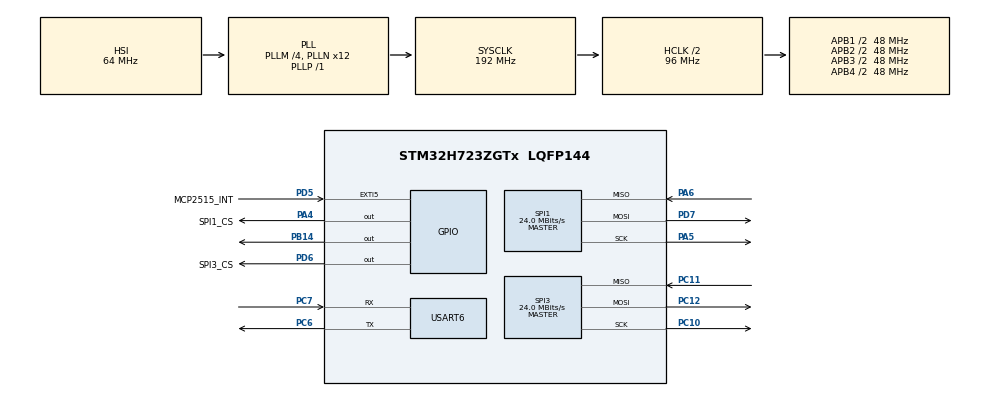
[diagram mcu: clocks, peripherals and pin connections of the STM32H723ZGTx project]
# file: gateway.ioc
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CORTEX_M7.default_mode_Activation=1
FREERTOS.Events01=myEvent01,Dynamic,NULL
FREERTOS.Mutexes01=myMutex01,Dynamic,NULL,Available
FREERTOS.Queues01=myQueue01,32,uint32_t,0,Dynamic,NULL,NULL
FREERTOS.Tasks01=defaultTask,24,128,StartDefaultTask,Default,NULL,Dynamic,NULL,NULL;myTask02,8,128,StartTask02,Default,NULL,Dynamic,NULL,NULL;myTask03,8,128,StartTask03,Default,NULL,Dynamic,NULL,NULL
FREERTOS.configUSE_NEWLIB_REENTRANT=1
Mcu.Family=STM32H7
Mcu.Name=STM32H723ZGTx
Mcu.Package=LQFP144
NUCLEO-H723ZG.BUTTON=1
NUCLEO-H723ZG.LD1=true
NUCLEO-H723ZG.LD2=true
NUCLEO-H723ZG.LD3=true
NUCLEO-H723ZG.VCP=true
NVIC.EXTI15_10_IRQn=true\:5\:0\:false\:false\:true\:true\:false\:true\:true
NVIC.EXTI9_5_IRQn=true\:5\:0\:false\:false\:true\:false\:true\:true\:true
NVIC.PriorityGroup=NVIC_PRIORITYGROUP_4
NVIC.TIM6_DAC_IRQn=true\:15\:0\:false\:false\:true\:false\:false\:true\:true
NVIC.TimeBase=TIM6_DAC_IRQn
NVIC.TimeBaseIP=TIM6
NVIC.USART6_IRQn=true\:5\:0\:false\:false\:true\:true\:true\:true\:true
PA13(JTMS/SWDIO).GPIO_Label=SWDIO
PA13(JTMS/SWDIO).Signal=DEBUG_JTMS-SWDIO
PA14(JTCK/SWCLK).GPIO_Label=SWCLK
PA14(JTCK/SWCLK).Signal=DEBUG_JTCK-SWCLK
PA4.GPIO_Label=SPI1_CS
PA4.Signal=GPIO_Output
PA5.Mode=Full_Duplex_Master
PA5.Signal=SPI1_SCK
PA6.Mode=Full_Duplex_Master
PA6.Signal=SPI1_MISO
PB14.Signal=GPIO_Output
PC10.Mode=Full_Duplex_Master
PC10.Signal=SPI3_SCK
PC11.Mode=Full_Duplex_Master
PC11.Signal=SPI3_MISO
PC12.Mode=Full_Duplex_Master
PC12.Signal=SPI3_MOSI
PC14-OSC32_IN.Signal=RCC_OSC32_IN
PC15-OSC32_OUT.Signal=RCC_OSC32_OUT
PC6.Mode=Asynchronous
PC6.Signal=USART6_TX
PC7.Mode=Asynchronous
PC7.Signal=USART6_RX
PD5.GPIO_Label=MCP2515_INT
PD5.GPIO_ModeDefaultEXTI=GPIO_MODE_IT_FALLING
PD5.GPIO_PuPd=GPIO_PULLUP
PD5.Signal=GPXTI5
PD6.GPIO_Label=SPI3_CS
PD6.Signal=GPIO_Output
PD7.Mode=Full_Duplex_Master
PD7.Signal=SPI1_MOSI
PD8.Signal=USART3_TX
PD9.Signal=USART3_RX
PH0-OSC_IN.Mode=HSE-External-Oscillator
PH0-OSC_IN.Signal=RCC_OSC_IN
PH1-OSC_OUT.Mode=HSE-External-Oscillator
PH1-OSC_OUT.Signal=RCC_OSC_OUT
ProjectManager.HeapSize=0x200
ProjectManager.StackSize=0x400
ProjectManager.TargetToolchain=STM32CubeIDE
RCC.ADCFreq_Value=608000000
RCC.APB1Freq_Value=48000000
RCC.APB2Freq_Value=48000000
RCC.APB3Freq_Value=48000000
RCC.APB4Freq_Value=48000000
RCC.CortexFreq_Value=192000000
RCC.D1PPRE=RCC_APB3_DIV2
RCC.D2PPRE1=RCC_APB1_DIV2
RCC.D2PPRE2=RCC_APB2_DIV2
RCC.D3PPRE=RCC_APB4_DIV2
RCC.DIVM1=4
RCC.DIVM2=1
RCC.DIVN1=12
RCC.DIVN2=19
RCC.DIVP1=1
RCC.DIVQ1=4
RCC.HCLKFreq_Value=96000000
RCC.HPRE=RCC_HCLK_DIV2
RCC.HSE_VALUE=8000000
RCC.PLLFRACN=0
RCC.SYSCLKFreq_VALUE=192000000
RCC.SYSCLKSource=RCC_SYSCLKSOURCE_PLLCLK
RCC.USBCLockSelection=RCC_USBCLKSOURCE_HSI48
RCC.USBFreq_Value=48000000
SPI1.CalculateBaudRate=24.0 MBits/s
SPI1.Direction=SPI_DIRECTION_2LINES
SPI1.Mode=SPI_MODE_MASTER
SPI1.VirtualType=VM_MASTER
SPI3.CalculateBaudRate=24.0 MBits/s
SPI3.Direction=SPI_DIRECTION_2LINES
SPI3.Mode=SPI_MODE_MASTER
SPI3.VirtualType=VM_MASTER
USART6.VirtualMode-Asynchronous=VM_ASYNC
VP_FREERTOS_VS_CMSIS_V2.Mode=CMSIS_V2
VP_MEMORYMAP_VS_MEMORYMAP.Mode=CurAppReg
VP_NUCLEO-H723ZG_VS_BSP_COMMON.Mode=COMMON
VP_SYS_VS_tim6.Mode=TIM6
board=NUCLEO-H723ZG

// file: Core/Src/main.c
/* USER CODE BEGIN Header */
///**
//  ******************************************************************************
//  * @file           : main.c
//  * @brief          : Main program body
//  ******************************************************************************
//  * @attention
//  *
//  * Copyright (c) 2026 STMicroelectronics.
//  * All rights reserved.
//  *
//  * This software is licensed under terms that can be found in the LICENSE file
//  * in the root directory of this software component.
//  * If no LICENSE file comes with this software, it is provided AS-IS.
//  *
//  ******************************************************************************
//  */
/* USER CODE END Header */
#include "main.h"
#include "FreeRTOS.h"
#include "cmsis_os2.h"
#include "gateway_app.h"
#include <stdbool.h>
#include <stdint.h>
#include <stdio.h>
#include <string.h>
#include <stdarg.h>
#include <ctype.h>
#include "task.h"
#include "wizchip_conf.h"
#include "socket.h"
#include "mqtt_led.h"
#include "stm32h7xx_hal.h"
#include "CAN_SPI.h"
#include "MCP2515.h"
#define CAN_QUEUE_LENGTH       32U
#define CAN_RX_NOTIFY          (1U << 0)

#define EVT_CAN_ACTIVE         (1U << 0)
#define EVT_NET_UP             (1U << 1)
#define EVT_MQTT_CONNECTED     (1U << 2)
#define EVT_QUEUE_OVERFLOW     (1U << 3)
#define EVT_CAN_ERROR          (1U << 4)
#define EVT_MQTT_ERROR         (1U << 5)
#define UART_COMMAND_MAX 64U
#define MCP2515_RESET           0xC0

#define MCP2515_READ            0x03
#define MCP2515_READ_RXB0SIDH   0x90
#define MCP2515_READ_RXB0D0     0x92
#define MCP2515_READ_RXB1SIDH   0x94
#define MCP2515_READ_RXB1D0     0x96

#define MCP2515_WRITE           0x02
#define MCP2515_LOAD_TXB0SIDH   0x40    /* TX0 ID location */
#define MCP2515_LOAD_TXB0D0     0x41    /* TX0 Data location */
#define MCP2515_LOAD_TXB1SIDH   0x42    /* TX1 ID location */
#define MCP2515_LOAD_TXB1D0     0x43    /* TX1 Data location */
#define MCP2515_LOAD_TXB2SIDH   0x44    /* TX2 ID location */
#define MCP2515_LOAD_TXB2D0     0x45    /* TX2 Data location */

#define MCP2515_RTS_TX0         0x81
#define MCP2515_RTS_TX1         0x82
#define MCP2515_RTS_TX2         0x84
#define MCP2515_RTS_ALL         0x87
#define MCP2515_READ_STATUS     0xA0
#define MCP2515_RX_STATUS       0xB0
#define MCP2515_BIT_MOD         0x05

/* MCP25152515 Register Adresses */
#define MCP2515_RXF0SIDH	0x00
#define MCP2515_RXF0SIDL	0x01
#define MCP2515_RXF0EID8	0x02
#define MCP2515_RXF0EID0	0x03
#define MCP2515_RXF1SIDH	0x04
#define MCP2515_RXF1SIDL	0x05
#define MCP2515_RXF1EID8	0x06
#define MCP2515_RXF1EID0	0x07
#define MCP2515_RXF2SIDH	0x08
#define MCP2515_RXF2SIDL	0x09
#define MCP2515_RXF2EID8	0x0A
#define MCP2515_RXF2EID0	0x0B
#define MCP2515_CANSTAT		0x0E
#define MCP2515_CANCTRL		0x0F

#define MCP2515_RXF3SIDH	0x10
#define MCP2515_RXF3SIDL	0x11
#define MCP2515_RXF3EID8	0x12
#define MCP2515_RXF3EID0	0x13
#define MCP2515_RXF4SIDH	0x14
#define MCP2515_RXF4SIDL	0x15
#define MCP2515_RXF4EID8	0x16
#define MCP2515_RXF4EID0	0x17
#define MCP2515_RXF5SIDH	0x18
#define MCP2515_RXF5SIDL	0x19
#define MCP2515_RXF5EID8	0x1A
#define MCP2515_RXF5EID0	0x1B
#define MCP2515_TEC		0x1C
#define MCP2515_REC		0x1D

#define MCP2515_RXM0SIDH	0x20
#define MCP2515_RXM0SIDL	0x21
#define MCP2515_RXM0EID8	0x22
#define MCP2515_RXM0EID0	0x23
#define MCP2515_RXM1SIDH	0x24
#define MCP2515_RXM1SIDL	0x25
#define MCP2515_RXM1EID8	0x26
#define MCP2515_RXM1EID0	0x27
#define MCP2515_CNF3		0x28
#define MCP2515_CNF2		0x29
#define MCP2515_CNF1		0x2A
#define MCP2515_CANINTE		0x2B
#define MCP2515_CANINTF		0x2C
#define MCP2515_EFLG		0x2D

#define MCP2515_TXB0CTRL	0x30
#define MCP2515_TXB1CTRL	0x40
#define MCP2515_TXB2CTRL	0x50
#define MCP2515_RXB0CTRL	0x60
#define MCP2515_RXB0SIDH	0x61
#define MCP2515_RXB1CTRL	0x70
#define MCP2515_RXB1SIDH	0x71
#define MCP2515_RXB0SIDL    0x62U
#define MCP2515_RXB0DLC     0x65U
#define MCP2515_RXB0D0      0x66U
/* Defines for Rx Status */
#define MSG_IN_RXB0             0x01
#define MSG_IN_RXB1             0x02
#define MSG_IN_BOTH_BUFFERS     0x03
/* MCP2515 Transmit Buffer 0 */
#define MCP2515_TXB0SIDH    0x31U
#define MCP2515_TXB0SIDL    0x32U
#define MCP2515_TXB0EID8    0x33U
#define MCP2515_TXB0EID0    0x34U
#define MCP2515_TXB0DLC     0x35U
#define MCP2515_TXB0D0      0x36U

#define MODE_MASK       0xE0U
#define MODE_CONFIG     0x80U
#define MODE_LOOPBACK   0x40U

static uint8_t uartRxByte;
static char uartCommand[UART_COMMAND_MAX];
static volatile uint16_t uartCommandLength = 0U;
static volatile uint8_t uartCommandReady = 0U;
static volatile uint8_t uartCommandOverflow = 0U;
static volatile uint8_t uartDiscardUntilEol = 0U;
/* USER CODE BEGIN Includes */
//
#define MCP_CS_HIGH()   HAL_GPIO_WritePin(SPI3_CS_GPIO_Port, SPI3_CS_Pin, GPIO_PIN_SET)
#define MCP_CS_LOW()    HAL_GPIO_WritePin(SPI3_CS_GPIO_Port, SPI3_CS_Pin, GPIO_PIN_RESET)
/* USER CODE END Includes */

/* USER CODE BEGIN PTD */
//
/* USER CODE END PTD */

/* USER CODE BEGIN PD */
//
/* USER CODE END PD */

/* USER CODE BEGIN PM */
//
/* USER CODE END PM */

COM_InitTypeDef BspCOMInit;

SPI_HandleTypeDef hspi1;
SPI_HandleTypeDef hspi3;

UART_HandleTypeDef huart6;

///* Definitions for defaultTask */
//osThreadId_t defaultTaskHandle;
//const osThreadAttr_t defaultTask_attributes = {
//  .name = "defaultTask",
//  .stack_size = 128 * 4,
//  .priority = (osPriority_t) osPriorityNormal,
//};
///* Definitions for myTask02 */
//osThreadId_t myTask02Handle;
//const osThreadAttr_t myTask02_attributes = {
//  .name = "myTask02",
//  .stack_size = 128 * 4,
//  .priority = (osPriority_t) osPriorityLow,
//};
///* Definitions for myTask03 */
//osThreadId_t myTask03Handle;
//const osThreadAttr_t myTask03_attributes = {
//  .name = "myTask03",
//  .stack_size = 128 * 4,
//  .priority = (osPriority_t) osPriorityLow,
//};
///* Definitions for myQueue01 */
//osMessageQueueId_t myQueue01Handle;
//const osMessageQueueAttr_t myQueue01_attributes = {
//  .name = "myQueue01"
//};
///* Definitions for myMutex01 */
//osMutexId_t myMutex01Handle;
//const osMutexAttr_t myMutex01_attributes = {
//  .name = "myMutex01"
//};
///* Definitions for myEvent01 */
//osEventFlagsId_t myEvent01Handle;
//const osEventFlagsAttr_t myEvent01_attributes = {
//  .name = "myEvent01"
//};
/* USER CODE BEGIN PV */
osMessageQueueId_t canQueue = NULL;
osEventFlagsId_t gatewayEvents = NULL;

osThreadId_t canRxTaskHandle = NULL;
osThreadId_t mqttTxTaskHandle = NULL;
osThreadId_t monitorTaskHandle = NULL;

static const osThreadAttr_t canRxTask_attributes = {
    .name = "CAN_RX",
    .stack_size = 2048,
    .priority = osPriorityHigh
};

static const osThreadAttr_t mqttTxTask_attributes = {
    .name = "MQTT_TX",
    .stack_size = 3072,
    .priority = osPriorityAboveNormal
};

static const osThreadAttr_t monitorTask_attributes = {
    .name = "Gateway_Monitor",
    .stack_size = 1024,
    .priority = osPriorityLow
};

void UART_Printf(const char* fmt, ...) {
    char buff[256];
    va_list args;
    va_start(args, fmt);
    vsnprintf(buff, sizeof(buff), fmt, args);
    HAL_UART_Transmit(&huart6, (uint8_t*)buff, strlen(buff),
                      HAL_MAX_DELAY);
    va_end(args);
}

static volatile uint32_t canRxCount = 0;
static volatile uint32_t canQueueDropCount = 0;
static volatile uint32_t mqttPublishedCount = 0;
static volatile uint32_t mqttPublishFailCount = 0;
static volatile uint32_t lastCanRxTick = 0;
static volatile uint8_t testPending = 0U;
static volatile uint8_t testResultReady = 0U;
static volatile uint8_t testResultPass = 0U;

static uint32_t expectedTestId = 0U;
static uint8_t expectedTestData[3];
static uint32_t testStartTick = 0U;

static volatile uint32_t testCanTxCount = 0U;
static volatile uint32_t testCanRxMatchCount = 0U;
static volatile uint32_t testCanTimeoutCount = 0U;

static uint8_t expectedTestDlc = 0U;

static bool TestFrameMatches(const CAN_Frame_t *frame)
{
    if (frame == NULL ||
        frame->dlc != expectedTestDlc ||
        frame->id != expectedTestId ||
        frame->extended != 0U)
    {
        return false;
    }

    return (frame->data[0] == expectedTestData[0] &&
            frame->data[1] == expectedTestData[1]);
}

static void ProcessTestCommand(const char *command)
{
    unsigned int id, dlc, d0, d1;
    char extra;
    uCAN_MSG msg = {0};

    if (sscanf(command, "%x %u %x %x %c",
               &id, &dlc, &d0, &d1, &extra) != 4 ||
        id > 0x7FFU ||
        dlc != 2U ||
        d0 > 0xFFU ||
        d1 > 0xFFU)
    {
        UART_Printf("RESULT FAIL: invalid CAN command\r\n");
        return;
    }

    if (testPending != 0U)
    {
        UART_Printf("RESULT FAIL: previous test still pending\r\n");
        return;
    }

    expectedTestId = id;
    expectedTestDlc = (uint8_t)dlc;
    expectedTestData[0] = (uint8_t)d0;
    expectedTestData[1] = (uint8_t)d1;

    testResultReady = 0U;
    testResultPass = 0U;
    testStartTick = HAL_GetTick();
    testPending = 1U;

    msg.frame.id = id;
    msg.frame.idType = dSTANDARD_CAN_MSG_ID_2_0B;
    msg.frame.dlc = (uint8_t)dlc;
    msg.frame.data0 = (uint8_t)d0;
    msg.frame.data1 = (uint8_t)d1;

    if (CANSPI_Transmit(&msg) == 0U)
    {
        testPending = 0U;
        testCanTimeoutCount++;
        UART_Printf("RESULT FAIL: CAN transmit request failed\r\n");
        return;
    }

    testCanTxCount++;

    UART_Printf(
        "CAN TX REQUESTED: ID=0x%03X DLC=%u DATA=%02X %02X\r\n",
        id, dlc, d0, d1);
}

/* USER CODE END PV */

void SystemClock_Config(void);
static void MPU_Config(void);
static void MX_GPIO_Init(void);
static void MX_SPI1_Init(void);
static void MX_SPI3_Init(void);
static void MX_USART6_UART_Init(void);
void StartDefaultTask(void *argument);
void StartTask02(void *argument);
void StartTask03(void *argument);

/* USER CODE BEGIN PFP */
///* USER CODE BEGIN PFP */
//
//bool Gateway_CAN_Read(CAN_Frame_t *frame);
//bool Gateway_MQTT_IsConnected(void);
//bool Gateway_Network_IsUp(void);
//bool Gateway_MQTT_PublishCAN(const CAN_Frame_t *frame);
//void Gateway_MQTT_Service(void);
//
/* USER CODE END PFP */

/* USER CODE BEGIN 0 */
//
/* USER CODE END 0 */
//static void W5500_Network_Init(void)
//{
//    uint8_t txsize[8] = {2, 2, 2, 2, 2, 2, 2, 2};
//    uint8_t rxsize[8] = {2, 2, 2, 2, 2, 2, 2, 2};
//
//    wiz_NetInfo netInfo =
//    {
//        .mac  = {0x00, 0x08, 0xDC, 0x11, 0x22, 0x33},
//        .ip   = {192, 168, 137, 2},
//        .sn   = {255, 255, 255, 0},
//        .gw   = {192, 168, 137, 1},
//        .dns  = {8, 8, 8, 8},
//        .dhcp = NETINFO_STATIC
//    };
//
//    wizchip_init(txsize, rxsize);
//
//    ctlnetwork(CN_SET_NETINFO, (void *)&netInfo);
//
//    memset(&netInfo, 0, sizeof(netInfo));
//    ctlnetwork(CN_GET_NETINFO, (void *)&netInfo);
//}

/* ================= MCP2515 LOOPBACK TEST ================= */

#define MCP_CS_LOW()    HAL_GPIO_WritePin(SPI3_CS_GPIO_Port, SPI3_CS_Pin, GPIO_PIN_RESET)
#define MCP_CS_HIGH()   HAL_GPIO_WritePin(SPI3_CS_GPIO_Port, SPI3_CS_Pin, GPIO_PIN_SET)

//static uint8_t MCP2515_SPI_Transfer(uint8_t data)
//{
//    uint8_t rx = 0;
//
//    HAL_SPI_TransmitReceive(&hspi3, &data, &rx, 1, HAL_MAX_DELAY);
//
//    return rx;
//}

static uint8_t MCP_SPI_Transfer(uint8_t data)
{
   uint8_t rx = 0xFFU;
	 //uint8_t rx = 0;
    if (HAL_SPI_TransmitReceive(
            &hspi3,
            &data,
            &rx,
            1U,
            100U) != HAL_OK)
    {
        UART_Printf("ERROR: MCP2515 SPI3 transfer failed\r\n");
        Error_Handler();
    }

    return rx;
}

static void MCP_WriteRegister(uint8_t address, uint8_t value)
{
    MCP_CS_LOW();

    MCP_SPI_Transfer(MCP2515_WRITE);
    MCP_SPI_Transfer(address);
    MCP_SPI_Transfer(value);

    MCP_CS_HIGH();
}

static uint8_t MCP_ReadRegister(uint8_t address)
{
    uint8_t value;

    MCP_CS_LOW();

    UART_Printf("CS LOW: PD6=%lu\r\n",
           (GPIOD->IDR >> 6) & 1U);

    MCP_SPI_Transfer(0x03);       // MCP2515 READ command
    MCP_SPI_Transfer(address);    // Register address
    value = MCP_SPI_Transfer(0x00); // Read register value

    MCP_CS_HIGH();

    UART_Printf("CS HIGH: PD6=%lu\r\n",
           (GPIOD->IDR >> 6) & 1U);

    return value;
}

//static uint8_t MCP_ReadRegister(uint8_t address)
//{
//    uint8_t tx[3] = {
//        MCP2515_READ,
//        address,
//        0xFFU
//    };
//
//    uint8_t rx[3] = {0};
//
//    MCP_CS_LOW();
//
//    if (HAL_SPI_TransmitReceive(&hspi3,
//                                tx,
//                                rx,
//                                3U,
//                                100U) != HAL_OK)
//    {
//        MCP_CS_HIGH();
//        UART_Printf("ERROR: MCP2515 READ SPI transfer failed\r\n");
//        Error_Handler();
//    }
//
//    MCP_CS_HIGH();
//
//    return rx[2];
//}

static void MCP_Reset(void)
{
    uint8_t command = MCP2515_RESET;

    MCP_CS_HIGH();
    HAL_Delay(2U);

    MCP_CS_LOW();

    if (HAL_SPI_Transmit(&hspi3, &command, 1U, 100U) != HAL_OK)
    {
        MCP_CS_HIGH();
        UART_Printf("ERROR: MCP2515 reset SPI transfer failed\r\n");
        Error_Handler();
    }

    MCP_CS_HIGH();
    HAL_Delay(10U);
}
//static uint8_t MCP_ReadRegister(uint8_t address)
//{
//    uint8_t value;
//
//    MCP_CS_LOW();
//
//    MCP_SPI_Transfer(MCP2515_READ);
//    MCP_SPI_Transfer(address);
//    value = MCP_SPI_Transfer(0xFF);
//
//    MCP_CS_HIGH();
//
//    return value;
//}

//static void MCP_Reset(void)
//{
//    MCP_CS_LOW();
//    MCP_SPI_Transfer(MCP2515_RESET);
//    MCP_CS_HIGH();
//
//    HAL_Delay(10U);
//}
//static void MCP_Reset(void)
//{
//    uint8_t command = MCP2515_RESET;
//
//    MCP_CS_HIGH();
//    HAL_Delay(10U);
//
//    MCP_CS_LOW();
//
//    if (HAL_SPI_Transmit(&hspi3,
//                         &command,
//                         1U,
//                         100U) != HAL_OK)
//    {
//        MCP_CS_HIGH();
//        UART_Printf("ERROR: MCP2515 RESET SPI transfer failed\r\n");
//        Error_Handler();
//    }
//
//    MCP_CS_HIGH();
//    HAL_Delay(10U);
//}

//void MCP2515_Reset(void)
//{
//    uint8_t cmd = MCP2515_RESET;
//
//    MCP2515_CS_HIGH();
//    HAL_Delay(2U);
//
//    MCP2515_CS_LOW();
//
//    HAL_StatusTypeDef status =
//        HAL_SPI_Transmit(SPI_CAN, &cmd, 1U, SPI_TIMEOUT);
//
//    MCP2515_CS_HIGH();
//
//    if (status != HAL_OK)
//    {
//        UART_Printf("[MCP2515] SPI RESET command failed: %d\r\n",
//                    (int)status);
//        return;
//    }
//
//    HAL_Delay(10U);
//}

static void MCP_BitModify(uint8_t address,
                          uint8_t mask,
                          uint8_t data)
{
    MCP_CS_LOW();

    MCP_SPI_Transfer(MCP2515_BIT_MOD);
    MCP_SPI_Transfer(address);
    MCP_SPI_Transfer(mask);
    MCP_SPI_Transfer(data);

    MCP_CS_HIGH();
}

static uint8_t MCP_SetMode(uint8_t mode)
{
    uint32_t start = HAL_GetTick();

    MCP_BitModify(MCP2515_CANCTRL, MODE_MASK, mode);

    while ((HAL_GetTick() - start) < 100U)
    {
        uint8_t status = MCP_ReadRegister(MCP2515_CANSTAT);

        if ((status & MODE_MASK) == mode)
            return 1U;
    }

    UART_Printf("ERROR: Mode request failed. CANSTAT=0x%02X\r\n",
                MCP_ReadRegister(MCP2515_CANSTAT));

    return 0U;
}

/* -------------------------------------------------- */
/* Initialize MCP2515 in INTERNAL LOOPBACK */
/* -------------------------------------------------- */

static uint8_t MCP_InitLoopback(void)
{
    uint8_t canstat;
    uint8_t canctrl;

    MCP_CS_HIGH();
    HAL_Delay(10U);

    MCP_Reset();
    HAL_Delay(10U);

    UART_Printf("CANSTAT = 0x%02X\r\n",
                MCP_ReadRegister(MCP2515_CANSTAT));

    UART_Printf("CANCTRL = 0x%02X\r\n",
                MCP_ReadRegister(MCP2515_CANCTRL));

    canstat = MCP_ReadRegister(MCP2515_CANSTAT);
    canctrl = MCP_ReadRegister(MCP2515_CANCTRL);

    UART_Printf("After reset: CANSTAT=0x%02X CANCTRL=0x%02X\r\n",
                canstat, canctrl);

    if (!MCP_SetMode(MODE_CONFIG))
        return 0U;

    /* Bit timing configuration */
//    MCP_WriteRegister(MCP2515_CNF1, 0x00U);
//    MCP_WriteRegister(MCP2515_CNF2, 0xE5U);
//    MCP_WriteRegister(MCP2515_CNF3, 0x83U);
//    MCP_WriteRegister(MCP2515_CNF1, 0x00U);
//    MCP_WriteRegister(MCP2515_CNF2, 0xD1U);
//    MCP_WriteRegister(MCP2515_CNF3, 0x81U);
    MCP_WriteRegister(MCP2515_CNF1, 0x00U);
    MCP_WriteRegister(MCP2515_CNF2, 0x89U);
    MCP_WriteRegister(MCP2515_CNF3, 0x01U);

    /* Receive all messages */
    MCP_WriteRegister(MCP2515_RXB0CTRL, 0x60U);

    /* Disable interrupts for polling test */
    MCP_WriteRegister(MCP2515_CANINTE, 0x00U);
    MCP_WriteRegister(MCP2515_CANINTF, 0x00U);

    if (!MCP_SetMode(MODE_LOOPBACK))
        return 0U;

    canstat = MCP_ReadRegister(MCP2515_CANSTAT);
    canctrl = MCP_ReadRegister(MCP2515_CANCTRL);

    UART_Printf("Loopback: CANSTAT=0x%02X CANCTRL=0x%02X\r\n",
                canstat, canctrl);

    if ((canstat & MODE_MASK) != MODE_LOOPBACK)
        return 0U;

    UART_Printf("PASS: MCP2515 INTERNAL LOOPBACK MODE ACTIVE\r\n");

    return 1U;
}

//static uint8_t MCP_SPI_CommunicationTest(void)
//{
//    uint8_t value;
//    uint8_t command = MCP2515_RESET;
//    HAL_StatusTypeDef status;
//
//    MCP_CS_HIGH();
//    HAL_Delay(10);
//
//    /* Read registers before reset */
//    UART_Printf("\r\n--- BEFORE RESET ---\r\n");
//
//    value = MCP_ReadRegister(MCP2515_CANSTAT);
//    UART_Printf("CANSTAT = 0x%02X\r\n", value);
//
//    value = MCP_ReadRegister(MCP2515_CANCTRL);
//    UART_Printf("CANCTRL = 0x%02X\r\n", value);
//
//    /* Send MCP2515 RESET command */
//    UART_Printf("\r\n--- RESET COMMAND ---\r\n");
//
//    MCP_CS_LOW();
//
//    status = HAL_SPI_Transmit(&hspi3, &command, 1, 100);
//
//    MCP_CS_HIGH();
//
//    UART_Printf("RESET SPI status = %d\r\n", (int)status);
//
//    HAL_Delay(10);
//
//    /* Read registers after reset */
//    UART_Printf("\r\n--- AFTER RESET ---\r\n");
//
//    value = MCP_ReadRegister(MCP2515_CANSTAT);
//    UART_Printf("CANSTAT = 0x%02X (expected 0x80)\r\n", value);
//
//    value = MCP_ReadRegister(MCP2515_CANCTRL);
//    UART_Printf("CANCTRL = 0x%02X (expected 0x87)\r\n", value);
//
//    return 1;
//}
static void MCP_SPI_CommunicationTest(void)
{
    uint8_t value;

    UART_Printf("\r\n===== MCP2515 SPI TEST =====\r\n");

    /* Reset MCP2515 */
    MCP_Reset();

    /* Check reset defaults */
    value = MCP_ReadRegister(0x0E);
    UART_Printf("CANSTAT after reset = 0x%02X\r\n", value);

    value = MCP_ReadRegister(0x0F);
    UART_Printf("CANCTRL after reset = 0x%02X\r\n", value);

    /* Write a known value to CNF1 */
    MCP_WriteRegister(0x2A, 0x55);

    /* Read back CNF1 */
    value = MCP_ReadRegister(0x2A);
    UART_Printf("CNF1 write/readback = 0x%02X\r\n", value);

    /* Reset again */
    MCP_Reset();

    value = MCP_ReadRegister(0x2A);
    UART_Printf("CNF1 after reset = 0x%02X\r\n", value);
}
static void SPI3_LoopbackTest(void)
{
    uint8_t tx;
    uint8_t rx;
    HAL_StatusTypeDef status;

    UART_Printf("\r\n===== SPI3 HARDWARE LOOPBACK TEST =====\r\n");

    /*
     * SPI3:
     * MOSI = PB2
     * MISO = PC11
     * SCK  = PC10
     *
     * Temporarily connect PB2 to PC11.
     */

    MCP_CS_HIGH();

    tx = 0xA5;
    rx = 0x00;

    status = HAL_SPI_TransmitReceive(
        &hspi3, &tx, &rx, 1U, 100U
    );

    UART_Printf(
        "TX=0x%02X RX=0x%02X HAL_STATUS=%d\r\n",
        tx, rx, status
    );

    tx = 0x5A;
    rx = 0x00;

    status = HAL_SPI_TransmitReceive(
        &hspi3, &tx, &rx, 1U, 100U
    );

    UART_Printf(
        "TX=0x%02X RX=0x%02X HAL_STATUS=%d\r\n",
        tx, rx, status
    );

    tx = 0xFF;
    rx = 0x00;

    status = HAL_SPI_TransmitReceive(
        &hspi3, &tx, &rx, 1U, 100U
    );

    UART_Printf(
        "TX=0x%02X RX=0x%02X HAL_STATUS=%d\r\n",
        tx, rx, status
    );

    UART_Printf("===== SPI3 LOOPBACK TEST COMPLETE =====\r\n");
}

/* -------------------------------------------------- */
/* Transmit and receive internal loopback frame */
/* -------------------------------------------------- */

static uint8_t MCP_LoopbackTest(void)
{
    const uint16_t expected_id = 0x123U;
    const uint8_t expected_dlc = 2U;
    const uint8_t expected_data[2] = {0xDEU, 0xADU};

    uint8_t sidh;
    uint8_t sidl;
    uint8_t dlc;
    uint8_t data0;
    uint8_t data1;
    uint16_t received_id;

    uint32_t start;

    /* Clear previous flags */
    MCP_WriteRegister(MCP2515_CANINTF, 0x00U);

    /* Standard 11-bit ID: 0x123 */
    MCP_WriteRegister(MCP2515_TXB0SIDH, (uint8_t)(expected_id >> 3));
    MCP_WriteRegister(MCP2515_TXB0SIDL, (uint8_t)((expected_id & 0x07U) << 5));

    MCP_WriteRegister(MCP2515_TXB0DLC, expected_dlc);
    MCP_WriteRegister(MCP2515_TXB0D0, expected_data[0]);
    MCP_WriteRegister(MCP2515_TXB0D0 + 1U, expected_data[1]);

    /* Request transmission from TX buffer 0 */
    MCP_CS_LOW();
    MCP_SPI_Transfer(MCP2515_RTS_TX0);
    MCP_CS_HIGH();

    /* Wait for RX0IF */
    start = HAL_GetTick();

    while ((HAL_GetTick() - start) < 1000U)
    {
        if ((MCP_ReadRegister(MCP2515_CANINTF) & 0x01U) != 0U)
            break;
    }

    if ((MCP_ReadRegister(MCP2515_CANINTF) & 0x01U) == 0U)
    {
        UART_Printf("FAIL: RX0IF not set after transmission\r\n");
        UART_Printf("CANINTF=0x%02X TXB0CTRL=0x%02X\r\n",
                    MCP_ReadRegister(MCP2515_CANINTF),
                    MCP_ReadRegister(MCP2515_TXB0CTRL));
        return 0U;
    }

    /* Read received frame from RXB0 */
    sidh = MCP_ReadRegister(MCP2515_RXB0SIDH);
    sidl = MCP_ReadRegister(MCP2515_RXB0SIDL);
    dlc = MCP_ReadRegister(MCP2515_RXB0DLC) & 0x0FU;

    data0 = MCP_ReadRegister(MCP2515_RXB0D0);
    data1 = MCP_ReadRegister(MCP2515_RXB0D0 + 1U);

    received_id = ((uint16_t)sidh << 3) |
                  ((uint16_t)sidl >> 5);

    UART_Printf("Received ID=0x%03X DLC=%u DATA=%02X %02X\r\n",
                received_id, dlc, data0, data1);

    /* Clear RX0IF */
    MCP_BitModify(MCP2515_CANINTF, 0x01U, 0x00U);

    if (received_id != expected_id)
    {
        UART_Printf("FAIL: CAN ID mismatch\r\n");
        return 0U;
    }

    if (dlc != expected_dlc)
    {
        UART_Printf("FAIL: DLC mismatch\r\n");
        return 0U;
    }

    if ((data0 != expected_data[0]) ||
        (data1 != expected_data[1]))
    {
        UART_Printf("FAIL: CAN data mismatch\r\n");
        return 0U;
    }

    UART_Printf("PASS: MCP2515 INTERNAL CAN LOOPBACK VERIFIED\r\n");

    return 1U;
}

/* ================= END MCP2515 LOOPBACK TEST ================= */

/* W5500 uses SPI1 */

static void W5500_Select(void)
{
    HAL_GPIO_WritePin(
        SPI1_CS_GPIO_Port,
        SPI1_CS_Pin,
        GPIO_PIN_RESET
    );
}

static void W5500_Unselect(void)
{
    HAL_GPIO_WritePin(
        SPI1_CS_GPIO_Port,
        SPI1_CS_Pin,
        GPIO_PIN_SET
    );
}

static uint8_t W5500_ReadByte(void)
{
    uint8_t tx = 0xFFU;
    uint8_t rx = 0U;

    if (HAL_SPI_TransmitReceive(
            &hspi1,
            &tx,
            &rx,
            1U,
            100U) != HAL_OK)
    {
        Error_Handler();
    }

    return rx;
}

static void W5500_WriteByte(uint8_t data)
{
    if (HAL_SPI_Transmit(
            &hspi1,
            &data,
            1U,
            100U) != HAL_OK)
    {
        Error_Handler();
    }
}
static void W5500_Network_Init(void)
{
    uint8_t txsize[8] =
        {2U, 2U, 2U, 2U, 2U, 2U, 2U, 2U};

    uint8_t rxsize[8] =
        {2U, 2U, 2U, 2U, 2U, 2U, 2U, 2U};

    wiz_NetInfo netInfo =
    {
        .mac  = {0x00, 0x08, 0xDC, 0x11, 0x22, 0x33},
        .ip   = {192, 168, 137, 2},
        .sn   = {255, 255, 255, 0},
        .gw   = {192, 168, 137, 1},
        .dns  = {8, 8, 8, 8},
        .dhcp = NETINFO_STATIC
    };

    wiz_NetInfo checkInfo = {0};

    /* Register W5500 hardware interface callbacks */
    reg_wizchip_cs_cbfunc(
        W5500_Select,
        W5500_Unselect
    );

    reg_wizchip_spi_cbfunc(
        W5500_ReadByte,
        W5500_WriteByte
    );

    /* Initialize W5500 socket buffers and controller */
    wizchip_init(txsize, rxsize);

    /* Verify that the W5500 is responding over SPI */
    uint8_t version = getVERSIONR();

    UART_Printf(
        "W5500 VERSIONR: 0x%02X\r\n",
        version
    );

    if (version != 0x04U)
    {
        UART_Printf(
            "ERROR: W5500 SPI communication failed\r\n"
        );

        Error_Handler();
    }

    /* Configure static network parameters */
    ctlnetwork(
        CN_SET_NETINFO,
        (void *)&netInfo
    );

    /* Read back the configuration */
    ctlnetwork(
        CN_GET_NETINFO,
        (void *)&checkInfo
    );

    UART_Printf(
        "W5500 IP: %u.%u.%u.%u\r\n",
        checkInfo.ip[0],
        checkInfo.ip[1],
        checkInfo.ip[2],
        checkInfo.ip[3]
    );

    if (memcmp(
            checkInfo.ip,
            netInfo.ip,
            sizeof(netInfo.ip)) != 0)
    {
        UART_Printf(
            "ERROR: W5500 IP configuration failed\r\n"
        );

        Error_Handler();
    }

    UART_Printf(
        "PASS: W5500 initialized\r\n"
    );
}

//static void SPI3_Pin_Loopback_GPIO_Test(void)
//{
//    GPIO_InitTypeDef GPIO_InitStruct = {0};
//
//    UART_Printf("\r\n===== SPI3 GPIO PIN TEST =====\r\n");
//
//    /* PB2: GPIO output */
//    GPIO_InitStruct.Pin = GPIO_PIN_2;
//    GPIO_InitStruct.Mode = GPIO_MODE_OUTPUT_PP;
//    GPIO_InitStruct.Pull = GPIO_NOPULL;
//    GPIO_InitStruct.Speed = GPIO_SPEED_FREQ_LOW;
//    HAL_GPIO_Init(GPIOB, &GPIO_InitStruct);
//
//    /* PC11: GPIO input */
//    GPIO_InitStruct.Pin = GPIO_PIN_11;
//    GPIO_InitStruct.Mode = GPIO_MODE_INPUT;
//    GPIO_InitStruct.Pull = GPIO_PULLDOWN;
//    HAL_GPIO_Init(GPIOC, &GPIO_InitStruct);
//
//    /* Drive PB2 HIGH */
//    HAL_GPIO_WritePin(GPIOB, GPIO_PIN_2, GPIO_PIN_SET);
//    HAL_Delay(10);
//
//    UART_Printf("PB2 HIGH -> PC11 reads %lu\r\n",
//                (GPIOC->IDR >> 11) & 1U);
//
//    /* Drive PB2 LOW */
//    HAL_GPIO_WritePin(GPIOB, GPIO_PIN_2, GPIO_PIN_RESET);
//    HAL_Delay(10);
//
//    UART_Printf("PB2 LOW  -> PC11 reads %lu\r\n",
//                (GPIOC->IDR >> 11) & 1U);
//
//    UART_Printf("===== GPIO PIN TEST COMPLETE =====\r\n");
//}
static void SPI3_Pin_Loopback_GPIO_Test(void)
{
    GPIO_InitTypeDef GPIO_InitStruct = {0};

    UART_Printf("\r\n===== SPI3 GPIO PIN TEST =====\r\n");

    /* Enable GPIO clocks */
    __HAL_RCC_GPIOB_CLK_ENABLE();
    __HAL_RCC_GPIOC_CLK_ENABLE();

    /* PB2 as output */
    GPIO_InitStruct.Pin = GPIO_PIN_2;
    GPIO_InitStruct.Mode = GPIO_MODE_OUTPUT_PP;
    GPIO_InitStruct.Pull = GPIO_NOPULL;
    GPIO_InitStruct.Speed = GPIO_SPEED_FREQ_LOW;
    HAL_GPIO_Init(GPIOB, &GPIO_InitStruct);

    /* PC11 as input */
    GPIO_InitStruct.Pin = GPIO_PIN_11;
    GPIO_InitStruct.Mode = GPIO_MODE_INPUT;
    GPIO_InitStruct.Pull = GPIO_PULLDOWN;
    HAL_GPIO_Init(GPIOC, &GPIO_InitStruct);

    HAL_GPIO_WritePin(GPIOB, GPIO_PIN_2, GPIO_PIN_SET);
    HAL_Delay(10);

    UART_Printf(
        "HIGH: PB2 ODR=%lu, PB2 IDR=%lu, PC11 IDR=%lu\r\n",
        (GPIOB->ODR >> 2) & 1U,
        (GPIOB->IDR >> 2) & 1U,
        (GPIOC->IDR >> 11) & 1U
    );

    HAL_GPIO_WritePin(GPIOB, GPIO_PIN_2, GPIO_PIN_RESET);
    HAL_Delay(10);

    UART_Printf(
        "LOW : PB2 ODR=%lu, PB2 IDR=%lu, PC11 IDR=%lu\r\n",
        (GPIOB->ODR >> 2) & 1U,
        (GPIOB->IDR >> 2) & 1U,
        (GPIOC->IDR >> 11) & 1U
    );

    UART_Printf("===== GPIO PIN TEST COMPLETE =====\r\n");
}
int main(void)
{

  /* USER CODE BEGIN 1 */
//
  /* USER CODE END 1 */

  /* MPU Configuration--------------------------------------------------------*/
  MPU_Config();

  /* MCU Configuration--------------------------------------------------------*/

  /* Reset of all peripherals, Initializes the Flash interface and the Systick. */
  HAL_Init();

  /* USER CODE BEGIN Init */
//
  /* USER CODE END Init */

  /* Configure the system clock */
  SystemClock_Config();

  /* USER CODE BEGIN SysInit */
//
  /* USER CODE END SysInit */

  MX_GPIO_Init();
  MX_SPI1_Init();
  MX_SPI3_Init();

  MX_USART6_UART_Init();
  if (HAL_UART_Receive_IT(&huart6, &uartRxByte, 1U) != HAL_OK)
  {
      UART_Printf("ERROR: USART6 receive interrupt start failed\r\n");
  }
  HAL_Delay(500);

  UART_Printf("\r\n===== STM32H723 BOOT =====\r\n");
  UART_Printf("===== MCP2515 INTERNAL LOOPBACK TEST =====\r\n");

  if (!MCP_InitLoopback())
  {
      UART_Printf("FAIL: MCP2515 initialization\r\n");
      Error_Handler();
  }

  if (!MCP_LoopbackTest())
  {
      UART_Printf("FAIL: MCP2515 loopback test\r\n");
      Error_Handler();
  }

//  UART_Printf("\r\n===== LOOPBACK TEST COMPLETE =====\r\n");

//  UART_Printf("===== MCP2515 SPI TEST =====\r\n");
//
//  //MCP_SPI_CommunicationTest();
//  //SPI3_LoopbackTest();
//  //SPI3_Pin_Loopback_GPIO_Test();
//  while (1)
//  {
//      HAL_Delay(1000);
//  }

  UART_Printf("\r\nInitializing W5500...\r\n");

  W5500_Network_Init();

  UART_Printf("PASS: W5500 network initialized\r\n");

  /* 5. Start FreeRTOS */
  UART_Printf("\r\n===== PERIPHERAL INIT COMPLETE =====\r\n");

  osKernelInitialize();

  canQueue = osMessageQueueNew(
      CAN_QUEUE_LENGTH,
      sizeof(CAN_Frame_t),
      NULL
  );

  gatewayEvents = osEventFlagsNew(NULL);

  if (canQueue == NULL || gatewayEvents == NULL)
  {
      UART_Printf("ERROR: RTOS queue/event creation failed\r\n");
      Error_Handler();
  }

  canRxTaskHandle = osThreadNew(
      StartDefaultTask, NULL, &canRxTask_attributes
  );

  mqttTxTaskHandle = osThreadNew(
      StartTask02, NULL, &mqttTxTask_attributes
  );

  monitorTaskHandle = osThreadNew(
      StartTask03, NULL, &monitorTask_attributes
  );

  if (canRxTaskHandle == NULL ||
      mqttTxTaskHandle == NULL ||
      monitorTaskHandle == NULL)
  {
      UART_Printf("ERROR: RTOS task creation failed\r\n");
      Error_Handler();
  }

  UART_Printf("Starting FreeRTOS...\r\n");

  osKernelStart();

  for (;;)
  {
  }
}

void SystemClock_Config(void)
{
  RCC_OscInitTypeDef RCC_OscInitStruct = {0};
  RCC_ClkInitTypeDef RCC_ClkInitStruct = {0};

  /** Supply configuration update enable
  */
  HAL_PWREx_ConfigSupply(PWR_LDO_SUPPLY);

  /** Configure the main internal regulator output voltage
  */
  __HAL_PWR_VOLTAGESCALING_CONFIG(PWR_REGULATOR_VOLTAGE_SCALE2);

  while(!__HAL_PWR_GET_FLAG(PWR_FLAG_VOSRDY)) {}

  /** Initializes the RCC Oscillators according to the specified parameters
  * in the RCC_OscInitTypeDef structure.
  */
  RCC_OscInitStruct.OscillatorType = RCC_OSCILLATORTYPE_HSI;
  RCC_OscInitStruct.HSIState = RCC_HSI_DIV1;
  RCC_OscInitStruct.HSICalibrationValue = 64;
  RCC_OscInitStruct.PLL.PLLState = RCC_PLL_ON;
  RCC_OscInitStruct.PLL.PLLSource = RCC_PLLSOURCE_HSI;
  RCC_OscInitStruct.PLL.PLLM = 4;
  RCC_OscInitStruct.PLL.PLLN = 12;
  RCC_OscInitStruct.PLL.PLLP = 1;
  RCC_OscInitStruct.PLL.PLLQ = 4;
  RCC_OscInitStruct.PLL.PLLR = 2;
  RCC_OscInitStruct.PLL.PLLRGE = RCC_PLL1VCIRANGE_3;
  RCC_OscInitStruct.PLL.PLLVCOSEL = RCC_PLL1VCOWIDE;
  RCC_OscInitStruct.PLL.PLLFRACN = 0;
  if (HAL_RCC_OscConfig(&RCC_OscInitStruct) != HAL_OK)
  {
    Error_Handler();
  }

  /** Initializes the CPU, AHB and APB buses clocks
  */
  RCC_ClkInitStruct.ClockType = RCC_CLOCKTYPE_HCLK|RCC_CLOCKTYPE_SYSCLK
                              |RCC_CLOCKTYPE_PCLK1|RCC_CLOCKTYPE_PCLK2
                              |RCC_CLOCKTYPE_D3PCLK1|RCC_CLOCKTYPE_D1PCLK1;
  RCC_ClkInitStruct.SYSCLKSource = RCC_SYSCLKSOURCE_PLLCLK;
  RCC_ClkInitStruct.SYSCLKDivider = RCC_SYSCLK_DIV1;
  RCC_ClkInitStruct.AHBCLKDivider = RCC_HCLK_DIV2;
  RCC_ClkInitStruct.APB3CLKDivider = RCC_APB3_DIV2;
  RCC_ClkInitStruct.APB1CLKDivider = RCC_APB1_DIV2;
  RCC_ClkInitStruct.APB2CLKDivider = RCC_APB2_DIV2;
  RCC_ClkInitStruct.APB4CLKDivider = RCC_APB4_DIV2;

  if (HAL_RCC_ClockConfig(&RCC_ClkInitStruct, FLASH_LATENCY_1) != HAL_OK)
  {
    Error_Handler();
  }
}

static void MX_SPI1_Init(void)
{

  /* USER CODE BEGIN SPI1_Init 0 */
//
  /* USER CODE END SPI1_Init 0 */

  /* USER CODE BEGIN SPI1_Init 1 */
//
  /* USER CODE END SPI1_Init 1 */
  /* SPI1 parameter configuration*/
  hspi1.Instance = SPI1;
  hspi1.Init.Mode = SPI_MODE_MASTER;
  hspi1.Init.Direction = SPI_DIRECTION_2LINES;
  hspi1.Init.DataSize = SPI_DATASIZE_8BIT;
  hspi1.Init.CLKPolarity = SPI_POLARITY_LOW;
  hspi1.Init.CLKPhase = SPI_PHASE_1EDGE;
  hspi1.Init.NSS = SPI_NSS_SOFT;
  hspi1.Init.BaudRatePrescaler = SPI_BAUDRATEPRESCALER_2;
  hspi1.Init.FirstBit = SPI_FIRSTBIT_MSB;
  hspi1.Init.TIMode = SPI_TIMODE_DISABLE;
  hspi1.Init.CRCCalculation = SPI_CRCCALCULATION_DISABLE;
  hspi1.Init.CRCPolynomial = 0x0;
  hspi1.Init.NSSPMode = SPI_NSS_PULSE_ENABLE;
  hspi1.Init.NSSPolarity = SPI_NSS_POLARITY_LOW;
  hspi1.Init.FifoThreshold = SPI_FIFO_THRESHOLD_01DATA;
  hspi1.Init.TxCRCInitializationPattern = SPI_CRC_INITIALIZATION_ALL_ZERO_PATTERN;
  hspi1.Init.RxCRCInitializationPattern = SPI_CRC_INITIALIZATION_ALL_ZERO_PATTERN;
  hspi1.Init.MasterSSIdleness = SPI_MASTER_SS_IDLENESS_00CYCLE;
  hspi1.Init.MasterInterDataIdleness = SPI_MASTER_INTERDATA_IDLENESS_00CYCLE;
  hspi1.Init.MasterReceiverAutoSusp = SPI_MASTER_RX_AUTOSUSP_DISABLE;
  hspi1.Init.MasterKeepIOState = SPI_MASTER_KEEP_IO_STATE_DISABLE;
  hspi1.Init.IOSwap = SPI_IO_SWAP_DISABLE;
  if (HAL_SPI_Init(&hspi1) != HAL_OK)
  {
    Error_Handler();
  }
  /* USER CODE BEGIN SPI1_Init 2 */
//
  /* USER CODE END SPI1_Init 2 */

}

static void MX_SPI3_Init(void)
{

  /* USER CODE BEGIN SPI3_Init 0 */
//
  /* USER CODE END SPI3_Init 0 */

  /* USER CODE BEGIN SPI3_Init 1 */
//
  /* USER CODE END SPI3_Init 1 */
  /* SPI3 parameter configuration*/
  hspi3.Instance = SPI3;
  hspi3.Init.Mode = SPI_MODE_MASTER;
  hspi3.Init.Direction = SPI_DIRECTION_2LINES;
  hspi3.Init.DataSize = SPI_DATASIZE_8BIT;
  hspi3.Init.CLKPolarity = SPI_POLARITY_LOW;
  hspi3.Init.CLKPhase = SPI_PHASE_1EDGE;
  hspi3.Init.NSS = SPI_NSS_SOFT;
  hspi3.Init.BaudRatePrescaler = SPI_BAUDRATEPRESCALER_16;
  hspi3.Init.FirstBit = SPI_FIRSTBIT_MSB;
  hspi3.Init.TIMode = SPI_TIMODE_DISABLE;
  hspi3.Init.CRCCalculation = SPI_CRCCALCULATION_DISABLE;
  hspi3.Init.CRCPolynomial = 0x0;
  hspi3.Init.NSSPMode = SPI_NSS_PULSE_DISABLE;
  hspi3.Init.NSSPolarity = SPI_NSS_POLARITY_LOW;
  hspi3.Init.FifoThreshold = SPI_FIFO_THRESHOLD_01DATA;
  hspi3.Init.TxCRCInitializationPattern = SPI_CRC_INITIALIZATION_ALL_ZERO_PATTERN;
  hspi3.Init.RxCRCInitializationPattern = SPI_CRC_INITIALIZATION_ALL_ZERO_PATTERN;
  hspi3.Init.MasterSSIdleness = SPI_MASTER_SS_IDLENESS_00CYCLE;
  hspi3.Init.MasterInterDataIdleness = SPI_MASTER_INTERDATA_IDLENESS_00CYCLE;
  hspi3.Init.MasterReceiverAutoSusp = SPI_MASTER_RX_AUTOSUSP_DISABLE;
  hspi3.Init.MasterKeepIOState = SPI_MASTER_KEEP_IO_STATE_DISABLE;
  hspi3.Init.IOSwap = SPI_IO_SWAP_DISABLE;
  if (HAL_SPI_Init(&hspi3) != HAL_OK)
  {
    Error_Handler();
  }
  /* USER CODE BEGIN SPI3_Init 2 */
//
  /* USER CODE END SPI3_Init 2 */

}

static void MX_USART6_UART_Init(void)
{

  /* USER CODE BEGIN USART6_Init 0 */
//
  /* USER CODE END USART6_Init 0 */

  /* USER CODE BEGIN USART6_Init 1 */
//
  /* USER CODE END USART6_Init 1 */
  huart6.Instance = USART6;
  huart6.Init.BaudRate = 115200;
  huart6.Init.WordLength = UART_WORDLENGTH_8B;
  huart6.Init.StopBits = UART_STOPBITS_1;
  huart6.Init.Parity = UART_PARITY_NONE;
  huart6.Init.Mode = UART_MODE_TX_RX;
  huart6.Init.HwFlowCtl = UART_HWCONTROL_NONE;
  huart6.Init.OverSampling = UART_OVERSAMPLING_16;
  huart6.Init.OneBitSampling = UART_ONE_BIT_SAMPLE_DISABLE;
  huart6.Init.ClockPrescaler = UART_PRESCALER_DIV1;
  huart6.AdvancedInit.AdvFeatureInit = UART_ADVFEATURE_NO_INIT;
  if (HAL_UART_Init(&huart6) != HAL_OK)
  {
    Error_Handler();
  }
  if (HAL_UARTEx_SetTxFifoThreshold(&huart6, UART_TXFIFO_THRESHOLD_1_8) != HAL_OK)
  {
    Error_Handler();
  }
  if (HAL_UARTEx_SetRxFifoThreshold(&huart6, UART_RXFIFO_THRESHOLD_1_8) != HAL_OK)
  {
    Error_Handler();
  }
  if (HAL_UARTEx_DisableFifoMode(&huart6) != HAL_OK)
  {
    Error_Handler();
  }
  /* USER CODE BEGIN USART6_Init 2 */
//
  /* USER CODE END USART6_Init 2 */

}

static void MX_GPIO_Init(void)
{
    GPIO_InitTypeDef GPIO_InitStruct = {0};

    __HAL_RCC_GPIOC_CLK_ENABLE();
    __HAL_RCC_GPIOH_CLK_ENABLE();
    __HAL_RCC_GPIOA_CLK_ENABLE();
    __HAL_RCC_GPIOB_CLK_ENABLE();
    __HAL_RCC_GPIOD_CLK_ENABLE();

    /* Deselect MCP2515 and W5500 before configuring their CS pins */
    HAL_GPIO_WritePin(SPI1_CS_GPIO_Port, SPI1_CS_Pin, GPIO_PIN_SET);
    HAL_GPIO_WritePin(SPI3_CS_GPIO_Port, SPI3_CS_Pin, GPIO_PIN_SET);

    HAL_GPIO_WritePin(GPIOB, GPIO_PIN_14, GPIO_PIN_RESET);

    GPIO_InitStruct.Pin = SPI1_CS_Pin;
    GPIO_InitStruct.Mode = GPIO_MODE_OUTPUT_PP;
    GPIO_InitStruct.Pull = GPIO_NOPULL;
    GPIO_InitStruct.Speed = GPIO_SPEED_FREQ_LOW;
    HAL_GPIO_Init(SPI1_CS_GPIO_Port, &GPIO_InitStruct);

    GPIO_InitStruct.Pin = SPI3_CS_Pin;
    GPIO_InitStruct.Mode = GPIO_MODE_OUTPUT_PP;
    GPIO_InitStruct.Pull = GPIO_NOPULL;
    GPIO_InitStruct.Speed = GPIO_SPEED_FREQ_LOW;
    HAL_GPIO_Init(SPI3_CS_GPIO_Port, &GPIO_InitStruct);

    GPIO_InitStruct.Pin = GPIO_PIN_14;
    GPIO_InitStruct.Mode = GPIO_MODE_OUTPUT_PP;
    GPIO_InitStruct.Pull = GPIO_NOPULL;
    GPIO_InitStruct.Speed = GPIO_SPEED_FREQ_LOW;
    HAL_GPIO_Init(GPIOB, &GPIO_InitStruct);

    GPIO_InitStruct.Pin = MCP2515_INT_Pin;
    GPIO_InitStruct.Mode = GPIO_MODE_IT_FALLING;
    GPIO_InitStruct.Pull = GPIO_PULLUP;
    HAL_GPIO_Init(MCP2515_INT_GPIO_Port, &GPIO_InitStruct);

    HAL_NVIC_SetPriority(MCP2515_INT_EXTI_IRQn, 5, 0);
    HAL_NVIC_EnableIRQ(MCP2515_INT_EXTI_IRQn);
}

/* USER CODE END 4 */
//void HAL_UART_RxCpltCallback(UART_HandleTypeDef *huart)
//{
//    if (huart->Instance == USART6) {
//        uint8_t ch = uartRxByte;
//
//        if (uartCommandReady == 0U &&
//            uartCommandOverflow == 0U) {
//
//            if (ch == '\r' || ch == '\n') {
//                if (uartCommandLength > 0U) {
//                    uartCommand[uartCommandLength] = '\0';
//                    uartCommandReady = 1U;
//                }
//            } else if (uartCommandLength < UART_COMMAND_MAX - 1U) {
//                uartCommand[uartCommandLength++] = (char)ch;
//            } else {
//                uartCommandOverflow = 1U;
//            }
//        }
//
//        /* Continue receiving the next byte */
//        (void)HAL_UART_Receive_IT(&huart6, &uartRxByte, 1U);
//    }
//}

void HAL_UART_RxCpltCallback(UART_HandleTypeDef *huart)
{
    if (huart->Instance == USART6)
    {
        uint8_t ch = uartRxByte;

        if (uartDiscardUntilEol != 0U)
        {
            /* Discard remaining bytes of oversized command */
            if (ch == '\r' || ch == '\n')
            {
                uartDiscardUntilEol = 0U;
                uartCommandLength = 0U;
                uartCommandOverflow = 1U;
            }
        }
        else if (uartCommandReady == 0U)
        {
            if (ch == '\r' || ch == '\n')
            {
                if (uartCommandLength > 0U)
                {
                    uartCommand[uartCommandLength] = '\0';
                    uartCommandReady = 1U;
                }
            }
            else if (uartCommandLength < UART_COMMAND_MAX - 1U)
            {
                uartCommand[uartCommandLength++] = (char)ch;
            }
            else
            {
                /* Stop collecting until end of this line */
                uartDiscardUntilEol = 1U;
                uartCommandLength = 0U;
            }
        }

        /* Always re-arm UART reception */
        (void)HAL_UART_Receive_IT(
            &huart6,
            &uartRxByte,
            1U
        );
    }
}

void HAL_GPIO_EXTI_Callback(uint16_t GPIO_Pin)
{
    if (GPIO_Pin == MCP2515_INT_Pin) {
        if (canRxTaskHandle != NULL) {
            (void)osThreadFlagsSet(
                canRxTaskHandle,
                CAN_RX_NOTIFY
            );
        }
    }
}

static void Update_LED_From_CAN(const CAN_Frame_t *frame)
{
    if (frame == NULL ||
        frame->id != 0x7E0U ||
        frame->extended != 0U ||
        frame->dlc < 2U ||
        frame->data[0] != 0x3EU)
    {
        return;
    }

    if (frame->data[1] == 0x00U)
    {
        HAL_GPIO_WritePin(GPIOB, GPIO_PIN_14, GPIO_PIN_SET);
        UART_Printf("LED ON: CAN command 3E 00\r\n");
    }
    else if (frame->data[1] == 0x80U)
    {
        HAL_GPIO_WritePin(GPIOB, GPIO_PIN_14, GPIO_PIN_RESET);
        UART_Printf("LED OFF: CAN command 3E 80\r\n");
    }
}

void StartDefaultTask(void *argument)
{
    CAN_Frame_t frame;
    uint8_t i;

    (void)argument;

    for (;;)
    {
        /*
         * Drain all CAN messages currently buffered
         * in the MCP2515.
         */
        while (CANSPI_messagesInBuffer() > 0U)
        {
            memset(&frame, 0, sizeof(frame));

            if (Gateway_CAN_Read(&frame) == false)
            {
                UART_Printf("ERROR: CAN RX read failed\r\n");
                break;
            }
            Update_LED_From_CAN(&frame);

            /*
             * Print the received CAN frame.
             */
            UART_Printf(
                "CAN RX: ID=0x%03lX DLC=%u FORMAT=%s DATA=",
                (unsigned long)frame.id,
                (unsigned int)frame.dlc,
                (frame.extended != 0U) ? "EXTENDED" : "STANDARD"
            );

            for (i = 0U; (i < frame.dlc) && (i < 8U); i++)
            {
                UART_Printf("%02X ", frame.data[i]);
            }

            UART_Printf("\r\n");

            /*
             * Check the received frame against
             * the currently pending UART test.
             */
            if (testPending != 0U)
            {
                if (TestFrameMatches(&frame) == true)
                {
                    testResultPass = 1U;
                    testResultReady = 1U;
                    testPending = 0U;

//                    UART_Printf("RESULT PASS\r\n");
                }
                else
                {
                    UART_Printf(
                        "CAN RX MISMATCH: EXPECTED ID=0x%03lX DLC=%u DATA=%02X %02X\r\n",
                        (unsigned long)expectedTestId,
                        (unsigned int)expectedTestDlc,
                        expectedTestData[0],
                        expectedTestData[1]
                    );
                }
            }

            /*
             * Notify the gateway that CAN traffic is active.
             */
            osEventFlagsSet(gatewayEvents, EVT_CAN_ACTIVE);

            /*
             * Forward the received frame to the MQTT task.
             */
            if (osMessageQueuePut(canQueue, &frame, 0U, 0U) != osOK)
            {
                UART_Printf("ERROR: CAN queue full\r\n");
            }
        }

        /*
         * Wake on MCP2515 interrupt notification,
         * with a 10 ms polling fallback.
         */
        osThreadFlagsWait(
            CAN_RX_NOTIFY,
            osFlagsWaitAny,
            10U
        );
    }
}
void StartTask02(void *argument)
{
    CAN_Frame_t frame;

    (void)argument;

    MQTT_LED_Init();

    for (;;)
    {
        /* Service MQTT connection and incoming packets */
        MQTT_LED_Process();

        /* Update network status */
        if (Gateway_Network_IsUp())
        {
            osEventFlagsSet(gatewayEvents, EVT_NET_UP);
        }
        else
        {
            osEventFlagsClear(gatewayEvents, EVT_NET_UP);
        }

        /* Update MQTT connection status */
        if (MQTT_LED_IsConnected())
        {
            osEventFlagsSet(gatewayEvents, EVT_MQTT_CONNECTED);
        }
        else
        {
            osEventFlagsClear(gatewayEvents, EVT_MQTT_CONNECTED);
        }

        /* Get CAN frame from receive queue */
        if (osMessageQueueGet(
                canQueue, &frame, NULL, 10U) == osOK)
        {
            if (!Gateway_Network_IsUp() ||
                !MQTT_LED_IsConnected())
            {
                /* Preserve frame if MQTT is temporarily unavailable */
                (void)osMessageQueuePut(
                    canQueue, &frame, 0U, 0U);

                osDelay(20U);
                continue;
            }

            /* Publish CAN frame through W5500 */
            if (!Gateway_MQTT_PublishCAN(&frame))
            {
                /* Preserve frame if publishing fails */
                (void)osMessageQueuePut(
                    canQueue, &frame, 0U, 0U);
            }
        }

        osDelay(5U);
    }
}

void StartTask03(void *argument)
{
    (void)argument;

    for (;;)
    {
        /* Process a complete UART command */
//        if (uartCommandReady != 0U)
//        {
//            char commandCopy[UART_COMMAND_MAX];
//
//            taskENTER_CRITICAL();
//
//            memcpy(commandCopy, uartCommand, UART_COMMAND_MAX);
//            commandCopy[UART_COMMAND_MAX - 1U] = '\0';
//
//            uartCommandLength = 0U;
//            uartCommandReady = 0U;
//
//            taskEXIT_CRITICAL();
//
//            UART_Printf(
//                "UART COMMAND RECEIVED: [%s]\r\n",
//                commandCopy
//            );
//
//            ProcessTestCommand(commandCopy);
//        }
//
//        /* Handle UART buffer overflow */
//        if (uartCommandOverflow != 0U)
//        {
//            taskENTER_CRITICAL();
//
//            uartCommandOverflow = 0U;
//            uartCommandLength = 0U;
//            uartCommandReady = 0U;
//
//            taskEXIT_CRITICAL();
//
//            UART_Printf("RESULT FAIL: UART command overflow\r\n");
//        }
    	/* Process a complete UART command */
    	if (uartCommandReady != 0U)
    	{
    	    char commandCopy[UART_COMMAND_MAX];
    	    uint16_t length;

    	    taskENTER_CRITICAL();

    	    length = uartCommandLength;

    	    if (length >= UART_COMMAND_MAX)
    	    {
    	        length = UART_COMMAND_MAX - 1U;
    	    }

    	    memcpy(commandCopy, uartCommand, length);
    	    commandCopy[length] = '\0';

    	    uartCommandLength = 0U;
    	    uartCommandReady = 0U;

    	    taskEXIT_CRITICAL();

    	    UART_Printf(
    	        "UART COMMAND RECEIVED: [%s]\r\n",
    	        commandCopy
    	    );

    	    ProcessTestCommand(commandCopy);
    	}

    	/* Report an oversized command once, after its line is discarded */
    	if (uartCommandOverflow != 0U)
    	{
    	    taskENTER_CRITICAL();

    	    uartCommandOverflow = 0U;

    	    taskEXIT_CRITICAL();

    	    UART_Printf("RESULT FAIL: UART command overflow\r\n");
    	}

        uint32_t now = HAL_GetTick();

        /* Report timeout if no matching CAN frame arrives */
        if ((testPending != 0U) &&
            ((uint32_t)(now - testStartTick) >= 2000U))
        {
            testPending = 0U;
            testResultPass = 0U;
            testResultReady = 1U;
            testCanTimeoutCount++;
        }

        /* Report each test result once */
        if (testResultReady != 0U)
        {
            if (testResultPass != 0U)
            {
                UART_Printf("RESULT PASS\r\n");
            }
            else
            {
                UART_Printf("RESULT FAIL: CAN loopback timeout\r\n");
            }

            testResultReady = 0U;
        }

        /* Update CAN activity status */
        if ((lastCanRxTick == 0U) ||
            ((uint32_t)(now - lastCanRxTick) >= 1000U))
        {
            (void)osEventFlagsClear(
                gatewayEvents,
                EVT_CAN_ACTIVE
            );
        }

        /* Update CAN bus-off status */
        if (Gateway_CAN_IsBusOff())
        {
            (void)osEventFlagsSet(
                gatewayEvents,
                EVT_CAN_ERROR
            );
        }
        else
        {
            (void)osEventFlagsClear(
                gatewayEvents,
                EVT_CAN_ERROR
            );
        }

        osDelay(100U);
    }
}
 /* MPU Configuration */

void MPU_Config(void)
{
  MPU_Region_InitTypeDef MPU_InitStruct = {0};

  /* Disables the MPU */
  HAL_MPU_Disable();

  /** Initializes and configures the Region and the memory to be protected
  */
  MPU_InitStruct.Enable = MPU_REGION_ENABLE;
  MPU_InitStruct.Number = MPU_REGION_NUMBER0;
  MPU_InitStruct.BaseAddress = 0x0;
  MPU_InitStruct.Size = MPU_REGION_SIZE_4GB;
  MPU_InitStruct.SubRegionDisable = 0x87;
  MPU_InitStruct.TypeExtField = MPU_TEX_LEVEL0;
  MPU_InitStruct.AccessPermission = MPU_REGION_NO_ACCESS;
  MPU_InitStruct.DisableExec = MPU_INSTRUCTION_ACCESS_DISABLE;
  MPU_InitStruct.IsShareable = MPU_ACCESS_SHAREABLE;
  MPU_InitStruct.IsCacheable = MPU_ACCESS_NOT_CACHEABLE;
  MPU_InitStruct.IsBufferable = MPU_ACCESS_NOT_BUFFERABLE;

  HAL_MPU_ConfigRegion(&MPU_InitStruct);
  /* Enables the MPU */
  HAL_MPU_Enable(MPU_PRIVILEGED_DEFAULT);

}

void HAL_TIM_PeriodElapsedCallback(TIM_HandleTypeDef *htim)
{
  /* USER CODE BEGIN Callback 0 */
//
  /* USER CODE END Callback 0 */
  if (htim->Instance == TIM6)
  {
    HAL_IncTick();
  }
  /* USER CODE BEGIN Callback 1 */
//
  /* USER CODE END Callback 1 */
}

void Error_Handler(void)
{
  __disable_irq();
  while (1)
  {
  }
}
#ifdef USE_FULL_ASSERT
/**
  * @brief  Reports the name of the source file and the source line number
  *         where the assert_param error has occurred.
  * @param  file: pointer to the source file name
  * @param  line: assert_param error line source number
  * @retval None
  */
void assert_failed(uint8_t *file, uint32_t line)
{
  /* USER CODE BEGIN 6 */
//  /* User can add his own implementation to report the file name and line number,
//     ex: printf("Wrong parameters value: file %s on line %d\r\n", file, line) */
  /* USER CODE END 6 */
}
#endif /* USE_FULL_ASSERT */
